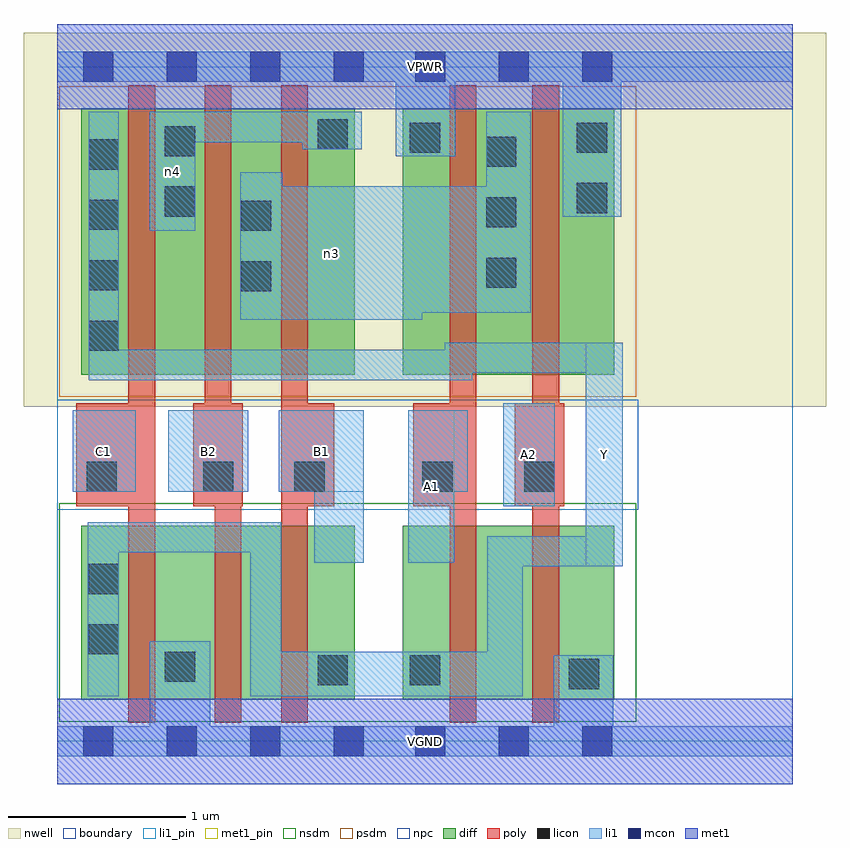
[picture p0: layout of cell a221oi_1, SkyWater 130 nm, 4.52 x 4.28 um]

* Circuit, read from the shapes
.subckt a221oi_1 A1 A2 B1 B2 C1 VGND VPWR Y n3 n4
XM1 VGND C1 Y VSUBS sky130_fd_pr__nfet_01v8 w=0.98 l=0.15
XM2 n1 B2 VGND VSUBS sky130_fd_pr__nfet_01v8 w=0.98 l=0.15
XM3 Y B1 n1 VSUBS sky130_fd_pr__nfet_01v8 w=0.98 l=0.15
XM4 n2 A1 Y VSUBS sky130_fd_pr__nfet_01v8 w=0.98 l=0.15
XM5 VGND A2 n2 VSUBS sky130_fd_pr__nfet_01v8 w=0.98 l=0.15
XM6 n4 C1 Y n5 sky130_fd_pr__pfet_01v8 w=1.5 l=0.15
XM7 n3 B2 n4 n5 sky130_fd_pr__pfet_01v8 w=1.5 l=0.15
XM8 n4 B1 n3 n5 sky130_fd_pr__pfet_01v8 w=1.5 l=0.15
XM9 n3 A1 VPWR n5 sky130_fd_pr__pfet_01v8 w=1.5 l=0.15
XM10 VPWR A2 n3 n5 sky130_fd_pr__pfet_01v8 w=1.5 l=0.15
.ends

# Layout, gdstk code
import gdstk
lib = gdstk.Library(unit=1e-6, precision=1e-09)
def R(c, l, rs):  # rectangles x0, y0, x1, y1
    for r in rs: c.add(gdstk.rectangle(r[:2], r[2:], *l))
def A(c, l, x, y, w, h, nx, ny, dx, dy):  # array of equal rectangles
    R(c, l, [(x+i*dx, y+j*dy, x+i*dx+w, y+j*dy+h) for i in range(nx) for j in range(ny)])
nwell = (64, 20)
diff = (65, 20)
poly = (66, 20)
licon = (66, 44)
li1_pin = (67, 16)
li1 = (67, 20)
mcon = (67, 44)
met1_pin = (68, 16)
met1 = (68, 20)
nsdm = (93, 44)
psdm = (94, 20)
npc = (95, 20)
boundary = (235, 4)

a221oi_1 = lib.new_cell('a221oi_1')
R(a221oi_1, nwell, [(-0.19,1.885,4.33,3.99), (0,1.885,4.14,3.99)])
R(a221oi_1, diff, [(0.135,0.235,1.675,1.215), (1.945,0.235,3.135,1.215), (0.135,2.065,1.675,3.565), (1.945,2.065,3.135,3.565)])
R(a221oi_1, poly, [(0.4,0.105,0.55,3.695), (0.885,0.105,1.035,1.905), (1.26,0.105,1.41,3.695), (2.21,0.105,2.36,3.695), (2.675,0.105,2.825,3.695), (0.105,1.325,0.55,1.905), (0.765,1.325,1.045,1.905), (0.83,1.325,0.98,3.695), (1.26,1.325,1.56,1.905), (2.005,1.325,2.36,1.905), (2.575,1.325,2.855,1.905)])
A(a221oi_1, licon, 0.175, 2.2, 0.17, 0.17, 1, 4, 0, 0.34)
A(a221oi_1, licon, 2.415, 2.555, 0.17, 0.17, 1, 3, 0, 0.34)
R(a221oi_1, licon, [(2.88,0.295,3.05,0.465), (1.465,0.315,1.635,0.485), (1.985,0.315,2.155,0.485), (0.605,0.335,0.775,0.505), (0.175,0.49,0.345,0.66), (0.175,0.83,0.345,1), (0.165,1.405,0.335,1.575), (0.82,1.405,0.99,1.575), (1.335,1.405,1.505,1.575), (2.055,1.405,2.225,1.575), (2.63,1.405,2.8,1.575), (1.035,2.535,1.205,2.705), (1.035,2.875,1.205,3.045), (0.605,2.955,0.775,3.125), (2.925,2.975,3.095,3.145), (0.605,3.295,0.775,3.465), (1.985,3.315,2.155,3.485), (2.925,3.315,3.095,3.485), (1.465,3.335,1.635,3.505)])
R(a221oi_1, li1_pin, [(2.975,0.985,3.185,2.245), (1.975,1.005,2.235,1.865), (2.51,1.325,2.8,1.905), (0.085,1.405,0.44,1.865), (0.625,1.405,1.075,1.865), (1.245,1.405,1.725,1.865)])
R(a221oi_1, li1, [(0,-0.085,4.14,0.085), (0.52,-0.085,0.86,0.565), (2.795,-0.085,3.13,0.485), (0.17,0.255,0.345,1.235), (1.085,0.255,1.26,1.235), (1.085,0.255,2.62,0.505), (2.42,0.255,2.62,1.155), (2.42,0.985,3.185,1.155), (2.975,0.985,3.185,2.245), (1.445,1.005,1.725,1.865), (1.975,1.005,2.235,1.865), (0.17,1.065,1.26,1.235), (2.51,1.325,2.8,1.905), (0.085,1.405,0.44,1.865), (0.625,1.405,1.075,1.865), (1.245,1.405,1.725,1.865), (1.975,1.405,2.31,1.865), (0.175,2.035,2.335,2.205), (0.175,2.035,0.345,3.545), (2.18,2.075,3.185,2.245), (1.03,2.375,2.055,3.125), (1.03,2.375,1.265,3.205), (1.03,2.415,2.665,3.125), (2.415,2.415,2.665,3.545), (0.52,2.875,0.775,3.545), (2.845,2.955,3.175,3.885), (1.905,3.295,2.24,3.885), (1.38,3.335,1.715,3.545), (0.52,3.375,1.715,3.545), (0,3.715,4.14,3.885)])
A(a221oi_1, mcon, 0.145, -0.085, 0.17, 0.17, 4, 2, 0.47, 3.8)
A(a221oi_1, mcon, 2.015, -0.085, 0.17, 0.17, 3, 2, 0.47, 3.8)
R(a221oi_1, met1_pin, [(0,-0.24,4.14,0.24), (0,3.56,4.14,4.04)])
R(a221oi_1, met1, [(0,-0.24,4.14,0.24), (0,3.56,4.14,4.04)])
R(a221oi_1, nsdm, [(0.01,0.11,3.26,1.34)])
R(a221oi_1, psdm, [(0.01,1.94,3.26,3.69)])
R(a221oi_1, npc, [(0,1.305,3.27,1.925)])
R(a221oi_1, boundary, [(0,0,4.14,3.8)])
a221oi_1.add(gdstk.Label('A1', (2.105,1.435), layer=67, texttype=5))
a221oi_1.add(gdstk.Label('A2', (2.655,1.615), layer=67, texttype=5))
a221oi_1.add(gdstk.Label('B1', (1.485,1.635), layer=67, texttype=5))
a221oi_1.add(gdstk.Label('B2', (0.85,1.635), layer=67, texttype=5))
a221oi_1.add(gdstk.Label('C1', (0.262,1.635), layer=67, texttype=5))
a221oi_1.add(gdstk.Label('Y', (3.08,1.615), layer=67, texttype=5))
a221oi_1.add(gdstk.Label('n4', (0.647,3.21), layer=67, texttype=5))
a221oi_1.add(gdstk.Label('n3', (1.542,2.75), layer=67, texttype=5))
a221oi_1.add(gdstk.Label('VPWR', (2.07,3.8), layer=68, texttype=5))
a221oi_1.add(gdstk.Label('VGND', (2.07,0), layer=68, texttype=5))
a221oi_1.add(gdstk.Label('A1', (2.105,1.435), layer=67, texttype=16))
a221oi_1.add(gdstk.Label('A2', (2.655,1.615), layer=67, texttype=16))
a221oi_1.add(gdstk.Label('B1', (1.485,1.635), layer=67, texttype=16))
a221oi_1.add(gdstk.Label('B2', (0.85,1.635), layer=67, texttype=16))
a221oi_1.add(gdstk.Label('C1', (0.262,1.635), layer=67, texttype=16))
a221oi_1.add(gdstk.Label('Y', (3.08,1.615), layer=67, texttype=16))
a221oi_1.add(gdstk.Label('VPWR', (2.07,3.8), layer=68, texttype=16))
a221oi_1.add(gdstk.Label('VGND', (2.07,0), layer=68, texttype=16))

lib.write_gds('a221oi_1.gds')
